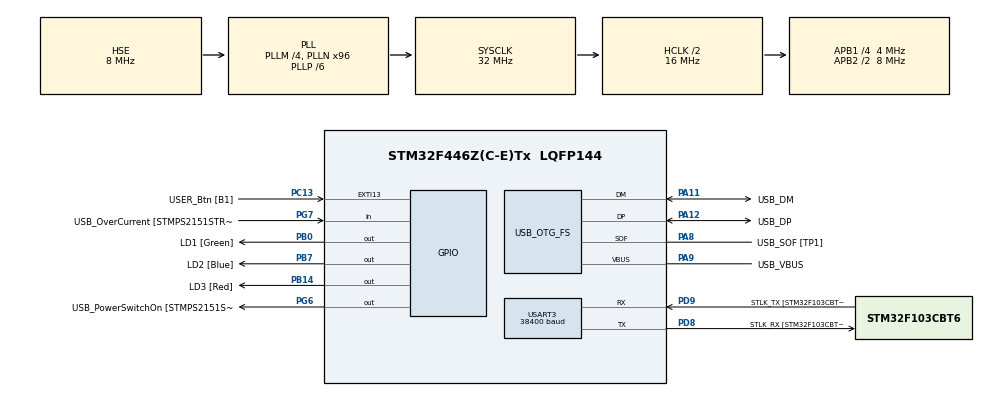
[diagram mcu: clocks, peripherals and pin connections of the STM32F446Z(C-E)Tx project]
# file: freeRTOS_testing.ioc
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FREERTOS.Tasks01=blinkyTask,24,128,startBlinkyTask,Default,NULL,Dynamic,NULL,NULL;printState,16,128,startPrintState,Default,NULL,Dynamic,NULL,NULL;alarmPolling,32,128,startAlarmPolling,Default,NULL,Dynamic,NULL,NULL
FREERTOS.configUSE_NEWLIB_REENTRANT=1
FREERTOS.configUSE_TICKLESS_IDLE=1
Mcu.Family=STM32F4
Mcu.Name=STM32F446Z(C-E)Tx
Mcu.Package=LQFP144
NVIC.PriorityGroup=NVIC_PRIORITYGROUP_4
NVIC.RTC_Alarm_IRQn=true\:5\:0\:false\:false\:true\:true\:true\:true
NVIC.TIM6_DAC_IRQn=true\:15\:0\:false\:false\:true\:false\:false\:true
NVIC.TimeBase=TIM6_DAC_IRQn
NVIC.TimeBaseIP=TIM6
PA10.GPIO_Label=USB_ID
PA10.Signal=USB_OTG_FS_ID
PA11.GPIO_Label=USB_DM
PA11.Mode=Device_Only
PA11.Signal=USB_OTG_FS_DM
PA12.GPIO_Label=USB_DP
PA12.Mode=Device_Only
PA12.Signal=USB_OTG_FS_DP
PA13.GPIO_Label=TMS
PA13.Mode=Serial_Wire
PA13.Signal=SYS_JTMS-SWDIO
PA14.GPIO_Label=TCK
PA14.Mode=Serial_Wire
PA14.Signal=SYS_JTCK-SWCLK
PA8.GPIO_Label=USB_SOF [TP1]
PA8.Mode=Activate_SOF_FS
PA8.Signal=USB_OTG_FS_SOF
PA9.GPIO_Label=USB_VBUS
PA9.Mode=Activate_VBUS
PA9.Signal=USB_OTG_FS_VBUS
PB0.GPIO_Label=LD1 [Green]
PB0.Signal=GPIO_Output
PB14.GPIO_Label=LD3 [Red]
PB14.Signal=GPIO_Output
PB7.GPIO_Label=LD2 [Blue]
PB7.Signal=GPIO_Output
PC13.GPIO_Label=USER_Btn [B1]
PC13.Signal=GPXTI13
PC14-OSC32_IN.Mode=LSE-External-Oscillator
PC14-OSC32_IN.Signal=RCC_OSC32_IN
PC15-OSC32_OUT.Mode=LSE-External-Oscillator
PC15-OSC32_OUT.Signal=RCC_OSC32_OUT
PD8.GPIO_Label=STLK_RX [STM32F103CBT6_PA3]
PD8.Mode=Asynchronous
PD8.Signal=USART3_TX
PD9.GPIO_Label=STLK_TX [STM32F103CBT6_PA2]
PD9.Mode=Asynchronous
PD9.Signal=USART3_RX
PG6.GPIO_Label=USB_PowerSwitchOn [STMPS2151STR_EN]
PG6.Signal=GPIO_Output
PG7.GPIO_Label=USB_OverCurrent [STMPS2151STR_FAULT]
PG7.Signal=GPIO_Input
PH0-OSC_IN.GPIO_Label=MCO [STM32F103CBT6_PA8]
PH0-OSC_IN.Mode=HSE-External-Clock-Source
PH0-OSC_IN.Signal=RCC_OSC_IN
PH1-OSC_OUT.Mode=HSE-External-Clock-Source
PH1-OSC_OUT.Signal=RCC_OSC_OUT
ProjectManager.HeapSize=0x200
ProjectManager.StackSize=0x400
ProjectManager.TargetToolchain=STM32CubeIDE
RCC.48MHZClocksFreq_Value=24000000
RCC.AHBCLKDivider=RCC_SYSCLK_DIV2
RCC.AHBFreq_Value=16000000
RCC.APB1CLKDivider=RCC_HCLK_DIV4
RCC.APB1Freq_Value=4000000
RCC.APB1TimFreq_Value=8000000
RCC.APB2CLKDivider=RCC_HCLK_DIV2
RCC.APB2Freq_Value=8000000
RCC.APB2TimFreq_Value=16000000
RCC.CortexFreq_Value=16000000
RCC.HCLKFreq_Value=16000000
RCC.HSE_VALUE=8000000
RCC.HSI_VALUE=16000000
RCC.PLLM=4
RCC.PLLMUL=RCC_PLL_MUL9
RCC.PLLN=96
RCC.PLLP=RCC_PLLP_DIV6
RCC.PLLQ=4
RCC.PRESCALERUSB=RCC_USBCLKSOURCE_PLL_DIV1_5
RCC.RCC_RTC_Clock_SourceVirtual=RCC_RTCCLKSOURCE_LSE
RCC.SYSCLKFreq_VALUE=32000000
RCC.SYSCLKSource=RCC_SYSCLKSOURCE_PLLCLK
RCC.SYSCLKSourceVirtual=RCC_SYSCLKSOURCE_PLLCLK
RCC.USBFreq_Value=48000000
RCC.VCOOutputFreq_Value=192000000
RTC.Alarm=RTC_ALARM_A
USART3.BaudRate=38400
USART3.VirtualMode=VM_ASYNC
USB_OTG_FS.VirtualMode=Device_Only
VP_FREERTOS_VS_CMSIS_V2.Mode=CMSIS_V2
VP_RTC_VS_RTC_Activate.Mode=RTC_Enabled
VP_RTC_VS_RTC_Alarm_A_Intern.Mode=Alarm A
VP_RTC_VS_RTC_Calendar.Mode=RTC_Calendar
VP_SYS_VS_tim6.Mode=TIM6
board=NUCLEO-F446ZE

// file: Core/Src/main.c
/* USER CODE BEGIN Header */
/**
  ******************************************************************************
  * @file           : main.c
  * @brief          : Main program body
  ******************************************************************************
  * @attention
  *
  * <h2><center>&copy; Copyright (c) 2022 STMicroelectronics.
  * All rights reserved.</center></h2>
  *
  * This software component is licensed by ST under BSD 3-Clause license,
  * the "License"; You may not use this file except in compliance with the
  * License. You may obtain a copy of the License at:
  *                        opensource.org/licenses/BSD-3-Clause
  *
  ******************************************************************************
  */
/* USER CODE END Header */
#include "main.h"
//#include "cmsis_os.h"

/* USER CODE BEGIN Includes */

#include <MRT_RTOS.h>

/* USER CODE END Includes */

/* USER CODE BEGIN PD */

//#define print(s) HAL_UART_Transmit(&huart3,s, strlen(s), HAL_MAX_DELAY);

//INCLUDE_vTaskSuspend must be set to 1

/* USER CODE END PD */

/* USER CODE BEGIN PM */

//freeRTOS sleep processing macros
/*
#if configUSE_TICKLESS_IDLE == 1
#define configPRE_SLEEP_PROCESSING PreSleepProcessing
#define configPOST_SLEEP_PROCESSING PostSleppProcessing
#endif
*/

//Set configUSE_IDLE_HOOK to 1 in FreeRTOSConfig.h

/* USER CODE END PM */

RTC_HandleTypeDef hrtc;

UART_HandleTypeDef huart3;

PCD_HandleTypeDef hpcd_USB_OTG_FS;

/* Definitions for blinkyTask */
osThreadId_t blinkyTaskHandle;
const osThreadAttr_t blinkyTask_attributes = {
  .name = "blinkyTask",
  .stack_size = 128 * 4,
  .priority = (osPriority_t) osPriorityNormal,
};
/* Definitions for printState */
osThreadId_t printStateHandle;
const osThreadAttr_t printState_attributes = {
  .name = "printState",
  .stack_size = 128 * 4,
  .priority = (osPriority_t) osPriorityBelowNormal,
};
/* Definitions for alarmPolling */
osThreadId_t alarmPollingHandle;
const osThreadAttr_t alarmPolling_attributes = {
  .name = "alarmPolling",
  .stack_size = 128 * 4,
  .priority = (osPriority_t) osPriorityAboveNormal,
};
/* USER CODE BEGIN PV */

osThreadId_t threadID[10];

/* USER CODE END PV */

void SystemClock_Config(void);
static void MX_GPIO_Init(void);
static void MX_USART3_UART_Init(void);
static void MX_USB_OTG_FS_PCD_Init(void);
static void MX_RTC_Init(void);
void startBlinkyTask(void *argument);
void startPrintState(void *argument);
void startAlarmPolling(void *argument);

int main(void)
{

  /* MCU Configuration--------------------------------------------------------*/

  /* Reset of all peripherals, Initializes the Flash interface and the Systick. */
  HAL_Init();

  /* Configure the system clock */
  SystemClock_Config();

  /* Initialize all configured peripherals */
  MX_GPIO_Init();
  MX_USART3_UART_Init();
  MX_USB_OTG_FS_PCD_Init();
  MX_RTC_Init();
  /* USER CODE BEGIN 2 */

  //With default alarm
  MRT_SetupRTOS(huart3,1);

  //With custim alarm
  //MRT_SetupRTOS(huart3,0);
  //MRT_CustomRTC(int values[]); //TODO or simply configure in .ioc

  /* USER CODE END 2 */

  /* Init scheduler */
  osKernelInitialize();

  /* Create the thread(s) */
  /* creation of blinkyTask */
  blinkyTaskHandle = osThreadNew(startBlinkyTask, NULL, &blinkyTask_attributes);

  /* creation of printState */
  printStateHandle = osThreadNew(startPrintState, NULL, &printState_attributes);

  /* creation of alarmPolling */
  alarmPollingHandle = osThreadNew(startAlarmPolling, NULL, &alarmPolling_attributes);

  /* Start scheduler */
  osKernelStart();

  /* We should never get here as control is now taken by the scheduler */
  /* Infinite loop */
  /* USER CODE BEGIN WHILE */
  while (1)
  {

	  /*
	   * Nothing is going to get executed
	   * at this point since the freeRTOS
	   * takes control when osKernelStart is called
	   */

	  HAL_UART_Transmit(&huart3,(uint8_t*)"Main while loop\r\n", 17, HAL_MAX_DELAY);

    /* USER CODE END WHILE */

    /* USER CODE BEGIN 3 */
  }

  //TODO ALL OF SYSTEMCLOCKCONFIG IS DIFFERENT THAN THE OTHER VERSION

  /* USER CODE END 3 */
}

void SystemClock_Config(void)
{
  RCC_OscInitTypeDef RCC_OscInitStruct = {0};
  RCC_ClkInitTypeDef RCC_ClkInitStruct = {0};

  /** Configure the main internal regulator output voltage
  */
  __HAL_RCC_PWR_CLK_ENABLE();
  __HAL_PWR_VOLTAGESCALING_CONFIG(PWR_REGULATOR_VOLTAGE_SCALE3);
  /** Initializes the RCC Oscillators according to the specified parameters
  * in the RCC_OscInitTypeDef structure.
  */
  RCC_OscInitStruct.OscillatorType = RCC_OSCILLATORTYPE_HSE|RCC_OSCILLATORTYPE_LSE;
  RCC_OscInitStruct.HSEState = RCC_HSE_BYPASS;
  RCC_OscInitStruct.LSEState = RCC_LSE_ON;
  RCC_OscInitStruct.PLL.PLLState = RCC_PLL_ON;
  RCC_OscInitStruct.PLL.PLLSource = RCC_PLLSOURCE_HSE;
  RCC_OscInitStruct.PLL.PLLM = 4;
  RCC_OscInitStruct.PLL.PLLN = 96;
  RCC_OscInitStruct.PLL.PLLP = RCC_PLLP_DIV6;
  RCC_OscInitStruct.PLL.PLLQ = 4;
  RCC_OscInitStruct.PLL.PLLR = 2;
  if (HAL_RCC_OscConfig(&RCC_OscInitStruct) != HAL_OK)
  {
    Error_Handler();
  }
  /** Initializes the CPU, AHB and APB buses clocks
  */
  RCC_ClkInitStruct.ClockType = RCC_CLOCKTYPE_HCLK|RCC_CLOCKTYPE_SYSCLK
                              |RCC_CLOCKTYPE_PCLK1|RCC_CLOCKTYPE_PCLK2;
  RCC_ClkInitStruct.SYSCLKSource = RCC_SYSCLKSOURCE_PLLCLK;
  RCC_ClkInitStruct.AHBCLKDivider = RCC_SYSCLK_DIV2;
  RCC_ClkInitStruct.APB1CLKDivider = RCC_HCLK_DIV4;
  RCC_ClkInitStruct.APB2CLKDivider = RCC_HCLK_DIV2;

  if (HAL_RCC_ClockConfig(&RCC_ClkInitStruct, FLASH_LATENCY_0) != HAL_OK)
  {
    Error_Handler();
  }
}

static void MX_RTC_Init(void)
{

  RTC_TimeTypeDef sTime = {0};
  RTC_DateTypeDef sDate = {0};
  RTC_AlarmTypeDef sAlarm = {0};

  /** Initialize RTC Only
  */
  hrtc.Instance = RTC;
  hrtc.Init.HourFormat = RTC_HOURFORMAT_24;
  hrtc.Init.AsynchPrediv = 127;
  hrtc.Init.SynchPrediv = 255;
  hrtc.Init.OutPut = RTC_OUTPUT_DISABLE;
  hrtc.Init.OutPutPolarity = RTC_OUTPUT_POLARITY_HIGH;
  hrtc.Init.OutPutType = RTC_OUTPUT_TYPE_OPENDRAIN;
  if (HAL_RTC_Init(&hrtc) != HAL_OK)
  {
    Error_Handler();
  }

  /** Initialize RTC and set the Time and Date
  */
  sTime.Hours = 0x0;
  sTime.Minutes = 0x0;
  sTime.Seconds = 0x0;
  sTime.DayLightSaving = RTC_DAYLIGHTSAVING_NONE;
  sTime.StoreOperation = RTC_STOREOPERATION_RESET;
  if (HAL_RTC_SetTime(&hrtc, &sTime, RTC_FORMAT_BCD) != HAL_OK)
  {
    Error_Handler();
  }
  sDate.WeekDay = RTC_WEEKDAY_MONDAY;
  sDate.Month = RTC_MONTH_JANUARY;
  sDate.Date = 0x1;
  sDate.Year = 0x0;

  if (HAL_RTC_SetDate(&hrtc, &sDate, RTC_FORMAT_BCD) != HAL_OK)
  {
    Error_Handler();
  }
  /** Enable the Alarm A
  */
  sAlarm.AlarmTime.Hours = 0x0;
  sAlarm.AlarmTime.Minutes = 0x0;
  sAlarm.AlarmTime.Seconds = 0x0;
  sAlarm.AlarmTime.SubSeconds = 0x0;
  sAlarm.AlarmTime.DayLightSaving = RTC_DAYLIGHTSAVING_NONE;
  sAlarm.AlarmTime.StoreOperation = RTC_STOREOPERATION_RESET;
  sAlarm.AlarmMask = RTC_ALARMMASK_NONE;
  sAlarm.AlarmSubSecondMask = RTC_ALARMSUBSECONDMASK_ALL;
  sAlarm.AlarmDateWeekDaySel = RTC_ALARMDATEWEEKDAYSEL_DATE;
  sAlarm.AlarmDateWeekDay = 0x1;
  sAlarm.Alarm = RTC_ALARM_A;
  if (HAL_RTC_SetAlarm_IT(&hrtc, &sAlarm, RTC_FORMAT_BCD) != HAL_OK)
  {
    Error_Handler();
  }

}

static void MX_USART3_UART_Init(void)
{

  huart3.Instance = USART3;
  huart3.Init.BaudRate = 38400;
  huart3.Init.WordLength = UART_WORDLENGTH_8B;
  huart3.Init.StopBits = UART_STOPBITS_1;
  huart3.Init.Parity = UART_PARITY_NONE;
  huart3.Init.Mode = UART_MODE_TX_RX;
  huart3.Init.HwFlowCtl = UART_HWCONTROL_NONE;
  huart3.Init.OverSampling = UART_OVERSAMPLING_16;
  if (HAL_UART_Init(&huart3) != HAL_OK)
  {
    Error_Handler();
  }

}

static void MX_USB_OTG_FS_PCD_Init(void)
{

  hpcd_USB_OTG_FS.Instance = USB_OTG_FS;
  hpcd_USB_OTG_FS.Init.dev_endpoints = 6;
  hpcd_USB_OTG_FS.Init.speed = PCD_SPEED_FULL;
  hpcd_USB_OTG_FS.Init.dma_enable = DISABLE;
  hpcd_USB_OTG_FS.Init.phy_itface = PCD_PHY_EMBEDDED;
  hpcd_USB_OTG_FS.Init.Sof_enable = ENABLE;
  hpcd_USB_OTG_FS.Init.low_power_enable = DISABLE;
  hpcd_USB_OTG_FS.Init.lpm_enable = DISABLE;
  hpcd_USB_OTG_FS.Init.vbus_sensing_enable = ENABLE;
  hpcd_USB_OTG_FS.Init.use_dedicated_ep1 = DISABLE;
  if (HAL_PCD_Init(&hpcd_USB_OTG_FS) != HAL_OK)
  {
    Error_Handler();
  }

}

static void MX_GPIO_Init(void)
{
  GPIO_InitTypeDef GPIO_InitStruct = {0};

  /* GPIO Ports Clock Enable */
  __HAL_RCC_GPIOC_CLK_ENABLE();
  __HAL_RCC_GPIOH_CLK_ENABLE();
  __HAL_RCC_GPIOB_CLK_ENABLE();
  __HAL_RCC_GPIOD_CLK_ENABLE();
  __HAL_RCC_GPIOG_CLK_ENABLE();
  __HAL_RCC_GPIOA_CLK_ENABLE();

  /*Configure GPIO pin Output Level */
  HAL_GPIO_WritePin(GPIOB, LD1_Pin|LD3_Pin|LD2_Pin, GPIO_PIN_RESET);

  /*Configure GPIO pin Output Level */
  HAL_GPIO_WritePin(USB_PowerSwitchOn_GPIO_Port, USB_PowerSwitchOn_Pin, GPIO_PIN_RESET);

  /*Configure GPIO pin : USER_Btn_Pin */
  GPIO_InitStruct.Pin = USER_Btn_Pin;
  GPIO_InitStruct.Mode = GPIO_MODE_IT_RISING;
  GPIO_InitStruct.Pull = GPIO_NOPULL;
  HAL_GPIO_Init(USER_Btn_GPIO_Port, &GPIO_InitStruct);

  /*Configure GPIO pins : LD1_Pin LD3_Pin LD2_Pin */
  GPIO_InitStruct.Pin = LD1_Pin|LD3_Pin|LD2_Pin;
  GPIO_InitStruct.Mode = GPIO_MODE_OUTPUT_PP;
  GPIO_InitStruct.Pull = GPIO_NOPULL;
  GPIO_InitStruct.Speed = GPIO_SPEED_FREQ_LOW;
  HAL_GPIO_Init(GPIOB, &GPIO_InitStruct);

  /*Configure GPIO pin : USB_PowerSwitchOn_Pin */
  GPIO_InitStruct.Pin = USB_PowerSwitchOn_Pin;
  GPIO_InitStruct.Mode = GPIO_MODE_OUTPUT_PP;
  GPIO_InitStruct.Pull = GPIO_NOPULL;
  GPIO_InitStruct.Speed = GPIO_SPEED_FREQ_LOW;
  HAL_GPIO_Init(USB_PowerSwitchOn_GPIO_Port, &GPIO_InitStruct);

  /*Configure GPIO pin : USB_OverCurrent_Pin */
  GPIO_InitStruct.Pin = USB_OverCurrent_Pin;
  GPIO_InitStruct.Mode = GPIO_MODE_INPUT;
  GPIO_InitStruct.Pull = GPIO_NOPULL;
  HAL_GPIO_Init(USB_OverCurrent_GPIO_Port, &GPIO_InitStruct);

}

void startBlinkyTask(void *argument)
{
  /* USER CODE BEGIN 5 */

	//Add thread id to the list
	threadID[1]=osThreadGetId();

  /* Infinite loop */
  for(;;)
  {
	HAL_GPIO_TogglePin(LD1_GPIO_Port,LD1_Pin);
    osDelay(300);
  }

  //In case it leaves the infinite loop
    osThreadTerminate(NULL);

  /* USER CODE END 5 */
}

void startPrintState(void *argument)
{
  /* USER CODE BEGIN startPrintState */

	//Add thread id to the list
	threadID[2]=osThreadGetId();

	while(flagA!=1){osDelay(10);}
	osDelay(3000);
	MRT_StandByMode(10);

	HAL_UART_Transmit(&huart3,"Something went wrong\r\n",22,HAL_MAX_DELAY);

    //In case it leaves the infinite loop
    osThreadTerminate(NULL);

  /* USER CODE END startPrintState */
}

void startAlarmPolling(void *argument)
{
  /* USER CODE BEGIN startAlarmPolling */

	//Add thread id to the list
	threadID[0]=osThreadGetId();

	HAL_UART_Transmit(&huart3,"Start alarm polling\r\n",21,HAL_MAX_DELAY);

	char msg[10];
  /* Infinite loop */
  for(;;)
  {
	sprintf(msg,"FlagA: %u, FlagB: %u\r\n",flagA,flagB);
	HAL_UART_Transmit(&huart3,(uint8_t*)msg, strlen(msg), HAL_MAX_DELAY);

	if (flagA==1){
		HAL_UART_Transmit(&huart3,(uint8_t*)"FlagA==1\r\n", 10, HAL_MAX_DELAY);
		flagA=0;
	}

	if (flagB==1){
		HAL_UART_Transmit(&huart3,(uint8_t*)"FlagB==1\r\n", 10, HAL_MAX_DELAY);
		flagB=0;
	}
    osDelay(1000);
  }
  /* USER CODE END startAlarmPolling */
}

void HAL_TIM_PeriodElapsedCallback(TIM_HandleTypeDef *htim)
{
  if (htim->Instance == TIM6) {
    HAL_IncTick();
  }
}

void Error_Handler(void)
{
  __disable_irq();
  while (1)
  {
  }
}

/************************ (C) COPYRIGHT STMicroelectronics *****END OF FILE****/

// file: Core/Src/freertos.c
/* USER CODE BEGIN Header */
/**
  ******************************************************************************
  * File Name          : freertos.c
  * Description        : Code for freertos applications
  ******************************************************************************
  * @attention
  *
  * <h2><center>&copy; Copyright (c) 2022 STMicroelectronics.
  * All rights reserved.</center></h2>
  *
  * This software component is licensed by ST under Ultimate Liberty license
  * SLA0044, the "License"; You may not use this file except in compliance with
  * the License. You may obtain a copy of the License at:
  *                             www.st.com/SLA0044
  *
  ******************************************************************************
  */
/* USER CODE END Header */

#include "FreeRTOS.h"
#include "task.h"
#include "main.h"

/* USER CODE BEGIN PREPOSTSLEEP */
__weak void PreSleepProcessing(uint32_t ulExpectedIdleTime)
{
/* place for user code */
}

__weak void PostSleepProcessing(uint32_t ulExpectedIdleTime)
{
/* place for user code */
}
/* USER CODE END PREPOSTSLEEP */

/************************ (C) COPYRIGHT STMicroelectronics *****END OF FILE****/
